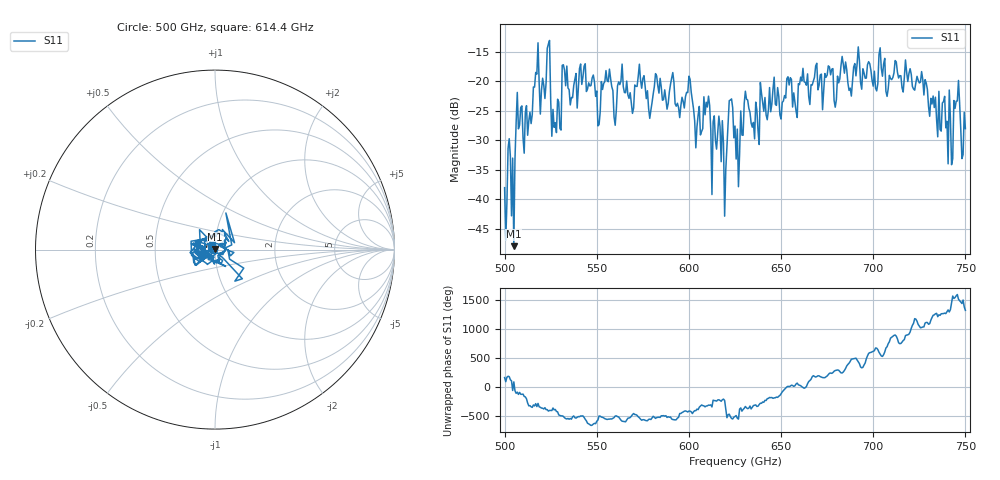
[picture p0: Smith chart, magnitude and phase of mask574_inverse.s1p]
!Created with skrf (http://scikit-rf.org).
# GHz S MA R 50.0
!freq magS11 angS11
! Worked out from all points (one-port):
!   401 points, 500 GHz to 750 GHz, reference 50 ohm
!   lowest |S11| = -48.0 dB at 505 GHz (marker M1), VSWR 1.01, Z = 50 + j0.397 ohm
!   |S11| at or under -10 dB: start of sweep to end of sweep
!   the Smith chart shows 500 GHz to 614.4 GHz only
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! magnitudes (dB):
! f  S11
! 500 GHz  -38.1
! 503.1 GHz  -32.7
! 505 GHz  -48.0
! 507.5 GHz  -28.1
! 513.8 GHz  -25.2
! 516.9 GHz  -18.5
! 520.6 GHz  -19.5
! 523.8 GHz  -13.7
! 526.9 GHz  -27.8
! 531.2 GHz  -17.3
! 542.5 GHz  -19.2
! 550.6 GHz  -27.6
! 562.5 GHz  -20.5
! 593.8 GHz  -23.7
! 609.4 GHz  -23.5
! 618.8 GHz  -30.5
! 622.5 GHz  -23.2
! 625 GHz  -27.6
! 656.2 GHz  -24.4
! 676.9 GHz  -18.9
! 680 GHz  -23.1
! 683.8 GHz  -17.1
! 687.5 GHz  -21.1
! 691.2 GHz  -17.0
! 718.8 GHz  -20.0
! 741.9 GHz  -26.3
! 745 GHz  -23.4
! 750 GHz  -28.0
